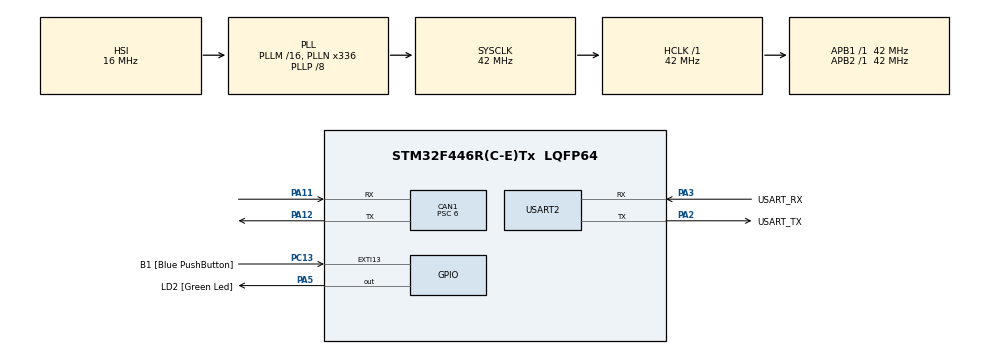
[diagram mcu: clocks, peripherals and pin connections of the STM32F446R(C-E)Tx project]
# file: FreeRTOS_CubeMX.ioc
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CAN1.ABOM=DISABLE
CAN1.BS1=CAN_BS1_11TQ
CAN1.BS2=CAN_BS2_2TQ
CAN1.CalculateTimeQuantum=142.85714285714286
CAN1.NART=DISABLE
CAN1.Prescaler=6
FREERTOS.Tasks01=defaultTask,24,128,StartDefaultTask,Default,NULL,Dynamic,NULL,NULL
Mcu.Family=STM32F4
Mcu.Name=STM32F446R(C-E)Tx
Mcu.Package=LQFP64
NVIC.CAN1_RX0_IRQn=true\:5\:0\:false\:false\:true\:true\:true\:true
NVIC.PriorityGroup=NVIC_PRIORITYGROUP_4
NVIC.TIM1_UP_TIM10_IRQn=true\:0\:0\:false\:false\:true\:false\:false\:true
NVIC.TimeBase=TIM1_UP_TIM10_IRQn
NVIC.TimeBaseIP=TIM1
PA11.Mode=Master
PA11.Signal=CAN1_RX
PA12.Mode=Master
PA12.Signal=CAN1_TX
PA13.GPIO_Label=TMS
PA13.Mode=Serial_Wire
PA13.Signal=SYS_JTMS-SWDIO
PA14.GPIO_Label=TCK
PA14.Mode=Serial_Wire
PA14.Signal=SYS_JTCK-SWCLK
PA2.GPIO_Label=USART_TX
PA2.Mode=Asynchronous
PA2.Signal=USART2_TX
PA3.GPIO_Label=USART_RX
PA3.Mode=Asynchronous
PA3.Signal=USART2_RX
PA5.GPIO_Label=LD2 [Green Led]
PA5.Signal=GPIO_Output
PB3.GPIO_Label=SWO
PB3.Signal=SYS_JTDO-SWO
PC13.GPIO_Label=B1 [Blue PushButton]
PC13.GPIO_ModeDefaultEXTI=GPIO_MODE_IT_FALLING
PC13.Signal=GPXTI13
ProjectManager.HeapSize=0x200
ProjectManager.StackSize=0x400
ProjectManager.TargetToolchain=STM32CubeIDE
RCC.48MHZClocksFreq_Value=84000000
RCC.AHBFreq_Value=42000000
RCC.APB1Freq_Value=42000000
RCC.APB1TimFreq_Value=42000000
RCC.APB2Freq_Value=42000000
RCC.APB2TimFreq_Value=42000000
RCC.CortexFreq_Value=42000000
RCC.FLatency-AdvancedSettings=FLASH_LATENCY_1
RCC.HCLKFreq_Value=42000000
RCC.HSE_VALUE=8000000
RCC.HSI_VALUE=16000000
RCC.PLLN=336
RCC.PLLP=RCC_PLLP_DIV8
RCC.SYSCLKFreq_VALUE=42000000
RCC.SYSCLKSource=RCC_SYSCLKSOURCE_PLLCLK
RCC.USBFreq_Value=168000000
RCC.VCOOutputFreq_Value=336000000
USART2.VirtualMode=VM_ASYNC
VP_FREERTOS_VS_CMSIS_V2.Mode=CMSIS_V2
VP_SYS_VS_tim1.Mode=TIM1
board=NUCLEO-F446RE

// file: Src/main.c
/* USER CODE BEGIN Header */
/**
  ******************************************************************************
  * @file           : main.c
  * @brief          : Main program body
  ******************************************************************************
  * @attention
  *
  * <h2><center>&copy; Copyright (c) 2020 STMicroelectronics.
  * All rights reserved.</center></h2>
  *
  * This software component is licensed by ST under BSD 3-Clause license,
  * the "License"; You may not use this file except in compliance with the
  * License. You may obtain a copy of the License at:
  *                        opensource.org/licenses/BSD-3-Clause
  *
  ******************************************************************************
  */
/* USER CODE END Header */

#include "main.h"
#include "cmsis_os.h"

CAN_HandleTypeDef hcan1;

UART_HandleTypeDef huart2;

/* Definitions for defaultTask */
osThreadId_t defaultTaskHandle;
const osThreadAttr_t defaultTask_attributes = {
  .name = "defaultTask",
  .priority = (osPriority_t) osPriorityNormal,
  .stack_size = 128 * 4
};
/* USER CODE BEGIN PV */
CAN_TxHeaderTypeDef headerSTM32_MessageTx_01; //declare a specific header for message transmission
unsigned char dataFrameTx_01[8];
uint32_t txMailbox;

CAN_RxHeaderTypeDef headerSTM32_MessageRx_01; //declare header for message reception
unsigned char dataFrameRx_01[8];

CAN_FilterTypeDef sFilterConfig; //declare CAN filter structure
/* USER CODE END PV */

void SystemClock_Config(void);
static void MX_GPIO_Init(void);
static void MX_CAN1_Init(void);
static void MX_USART2_UART_Init(void);
void StartDefaultTask(void *argument);

/* USER CODE BEGIN PFP */
void CAN_Filter_Config(void);
void Error_handler(void);
/* USER CODE END PFP */

int main(void)
{

  /* MCU Configuration--------------------------------------------------------*/

  /* Reset of all peripherals, Initializes the Flash interface and the Systick. */
  HAL_Init();

  /* Configure the system clock */
  SystemClock_Config();

  /* Initialize all configured peripherals */
  MX_GPIO_Init();
  MX_CAN1_Init();
  MX_USART2_UART_Init();
  /* USER CODE BEGIN 2 */
//  // Filter messages on CAN
//  sFilterConfig.FilterFIFOAssignment 	= CAN_FILTER_FIFO0; //set fifo assignment
//  sFilterConfig.FilterIdHigh 			= 0x245<<5; //the ID that the filter looks for (switch this for the other microcontroller)
//  sFilterConfig.FilterIdLow				= 0;
//  sFilterConfig.FilterMaskIdHigh		= 0;
//  sFilterConfig.FilterMaskIdLow			= 0;
//  sFilterConfig.FilterScale				= CAN_FILTERSCALE_32BIT; //set filter scale
//  sFilterConfig.FilterActivation		= ENABLE;
//
//
//  HAL_CAN_ConfigFilter(&hcan1, &sFilterConfig); //configure CAN filter
  CAN_Filter_Config();
  // Start CAN
  HAL_CAN_Start(&hcan1);

  // Activate interrupts for CAN Rx
  HAL_CAN_ActivateNotification(&hcan1, CAN_IT_RX_FIFO0_MSG_PENDING);
  /* USER CODE END 2 */

  /* Init scheduler */
  osKernelInitialize();

  /* Create the thread(s) */
  /* creation of defaultTask */
  defaultTaskHandle = osThreadNew(StartDefaultTask, NULL, &defaultTask_attributes);

  /* Start scheduler */
  osKernelStart();

  /* We should never get here as control is now taken by the scheduler */
  /* Infinite loop */
  while (1)
  {

  }
}

void SystemClock_Config(void)
{
  RCC_OscInitTypeDef RCC_OscInitStruct = {0};
  RCC_ClkInitTypeDef RCC_ClkInitStruct = {0};

  /** Configure the main internal regulator output voltage
  */
  __HAL_RCC_PWR_CLK_ENABLE();
  __HAL_PWR_VOLTAGESCALING_CONFIG(PWR_REGULATOR_VOLTAGE_SCALE3);
  /** Initializes the CPU, AHB and APB busses clocks
  */
  RCC_OscInitStruct.OscillatorType = RCC_OSCILLATORTYPE_HSI;
  RCC_OscInitStruct.HSIState = RCC_HSI_ON;
  RCC_OscInitStruct.HSICalibrationValue = RCC_HSICALIBRATION_DEFAULT;
  RCC_OscInitStruct.PLL.PLLState = RCC_PLL_ON;
  RCC_OscInitStruct.PLL.PLLSource = RCC_PLLSOURCE_HSI;
  RCC_OscInitStruct.PLL.PLLM = 16;
  RCC_OscInitStruct.PLL.PLLN = 336;
  RCC_OscInitStruct.PLL.PLLP = RCC_PLLP_DIV8;
  RCC_OscInitStruct.PLL.PLLQ = 2;
  RCC_OscInitStruct.PLL.PLLR = 2;
  if (HAL_RCC_OscConfig(&RCC_OscInitStruct) != HAL_OK)
  {
    Error_Handler();
  }
  /** Initializes the CPU, AHB and APB busses clocks
  */
  RCC_ClkInitStruct.ClockType = RCC_CLOCKTYPE_HCLK|RCC_CLOCKTYPE_SYSCLK
                              |RCC_CLOCKTYPE_PCLK1|RCC_CLOCKTYPE_PCLK2;
  RCC_ClkInitStruct.SYSCLKSource = RCC_SYSCLKSOURCE_PLLCLK;
  RCC_ClkInitStruct.AHBCLKDivider = RCC_SYSCLK_DIV1;
  RCC_ClkInitStruct.APB1CLKDivider = RCC_HCLK_DIV1;
  RCC_ClkInitStruct.APB2CLKDivider = RCC_HCLK_DIV1;

  if (HAL_RCC_ClockConfig(&RCC_ClkInitStruct, FLASH_LATENCY_1) != HAL_OK)
  {
    Error_Handler();
  }
}

static void MX_CAN1_Init(void)
{

  hcan1.Instance = CAN1;
  hcan1.Init.Prescaler = 6;
  hcan1.Init.Mode = CAN_MODE_NORMAL;
  hcan1.Init.SyncJumpWidth = CAN_SJW_1TQ;
  hcan1.Init.TimeSeg1 = CAN_BS1_11TQ;
  hcan1.Init.TimeSeg2 = CAN_BS2_2TQ;
  hcan1.Init.TimeTriggeredMode = DISABLE;
  hcan1.Init.AutoBusOff = DISABLE;
  hcan1.Init.AutoWakeUp = DISABLE;
  hcan1.Init.AutoRetransmission = DISABLE;
  hcan1.Init.ReceiveFifoLocked = DISABLE;
  hcan1.Init.TransmitFifoPriority = DISABLE;
  if (HAL_CAN_Init(&hcan1) != HAL_OK)
  {
    Error_Handler();
  }

}

static void MX_USART2_UART_Init(void)
{

  huart2.Instance = USART2;
  huart2.Init.BaudRate = 115200;
  huart2.Init.WordLength = UART_WORDLENGTH_8B;
  huart2.Init.StopBits = UART_STOPBITS_1;
  huart2.Init.Parity = UART_PARITY_NONE;
  huart2.Init.Mode = UART_MODE_TX_RX;
  huart2.Init.HwFlowCtl = UART_HWCONTROL_NONE;
  huart2.Init.OverSampling = UART_OVERSAMPLING_16;
  if (HAL_UART_Init(&huart2) != HAL_OK)
  {
    Error_Handler();
  }

}

static void MX_GPIO_Init(void)
{
  GPIO_InitTypeDef GPIO_InitStruct = {0};

  /* GPIO Ports Clock Enable */
  __HAL_RCC_GPIOC_CLK_ENABLE();
  __HAL_RCC_GPIOA_CLK_ENABLE();
  __HAL_RCC_GPIOB_CLK_ENABLE();

  /*Configure GPIO pin Output Level */
  HAL_GPIO_WritePin(LD2_GPIO_Port, LD2_Pin, GPIO_PIN_RESET);

  /*Configure GPIO pin : B1_Pin */
  GPIO_InitStruct.Pin = B1_Pin;
  GPIO_InitStruct.Mode = GPIO_MODE_IT_FALLING;
  GPIO_InitStruct.Pull = GPIO_NOPULL;
  HAL_GPIO_Init(B1_GPIO_Port, &GPIO_InitStruct);

  /*Configure GPIO pin : LD2_Pin */
  GPIO_InitStruct.Pin = LD2_Pin;
  GPIO_InitStruct.Mode = GPIO_MODE_OUTPUT_PP;
  GPIO_InitStruct.Pull = GPIO_NOPULL;
  GPIO_InitStruct.Speed = GPIO_SPEED_FREQ_LOW;
  HAL_GPIO_Init(LD2_GPIO_Port, &GPIO_InitStruct);

}

/* USER CODE BEGIN 4 */
void CAN_Filter_Config(void)
{
	CAN_FilterTypeDef can1_filter_init;

	can1_filter_init.FilterActivation = ENABLE;
	can1_filter_init.FilterBank  = 0;
	can1_filter_init.FilterFIFOAssignment = CAN_RX_FIFO0;
	can1_filter_init.FilterIdHigh = 0x0000;
	can1_filter_init.FilterIdLow = 0x0000;
	can1_filter_init.FilterMaskIdHigh = 0X01C0;
	can1_filter_init.FilterMaskIdLow = 0x0000;
	can1_filter_init.FilterMode = CAN_FILTERMODE_IDMASK;
	can1_filter_init.FilterScale = CAN_FILTERSCALE_32BIT;

	if( HAL_CAN_ConfigFilter(&hcan1,&can1_filter_init) != HAL_OK)
	{
		Error_handler();
	}

}

void Error_handler(void)
{
	while(1);
}
/* USER CODE END 4 */

void StartDefaultTask(void *argument)
{
  /* USER CODE BEGIN 5 */
  // http://www.bittiming.can-wiki.info/
  /* Infinite loop */
  for(;;)
  {
	// Toggle LED for each transmit
	// HAL_GPIO_TogglePin(LD2_GPIO_Port, LD2_Pin);

	// Use LED for receiving correct byte
	if(dataFrameRx_01[0] == 0x50U && headerSTM32_MessageRx_01.StdId == 0x631U)
	{
		HAL_GPIO_WritePin(LD2_GPIO_Port, LD2_Pin, GPIO_PIN_SET);
	}
	else
	{
		HAL_GPIO_WritePin(LD2_GPIO_Port, LD2_Pin, GPIO_PIN_RESET);
	}

	headerSTM32_MessageTx_01.IDE 	= CAN_ID_STD; // Standard identifier
	headerSTM32_MessageTx_01.StdId 	= 0x101U;
	headerSTM32_MessageTx_01.RTR 	= CAN_RTR_DATA; // Data frame
	headerSTM32_MessageTx_01.DLC 	= 8;	// length of data

	dataFrameTx_01[0] = 0x00U;
	dataFrameTx_01[1] = 0x25U;
	dataFrameTx_01[2] = 0x45U;
	dataFrameTx_01[3] = 0x50U;
	dataFrameTx_01[4] = 0x99U;
	dataFrameTx_01[5] = 0xAAU;
	dataFrameTx_01[6] = 0xBBU;
	dataFrameTx_01[7] = 0xA0U;

	// Transmit CAN message
	HAL_CAN_AddTxMessage(&hcan1, &headerSTM32_MessageTx_01, dataFrameTx_01, &txMailbox);

    osDelay(1000);
  }
  /* USER CODE END 5 */
}

 /**
  * @brief  Period elapsed callback in non blocking mode
  * @note   This function is called  when TIM1 interrupt took place, inside
  * HAL_TIM_IRQHandler(). It makes a direct call to HAL_IncTick() to increment
  * a global variable "uwTick" used as application time base.
  * @param  htim : TIM handle
  * @retval None
  */
void HAL_TIM_PeriodElapsedCallback(TIM_HandleTypeDef *htim)
{
  if (htim->Instance == TIM1) {
    HAL_IncTick();
  }
}

void Error_Handler(void)
{
}

/************************ (C) COPYRIGHT STMicroelectronics *****END OF FILE****/
